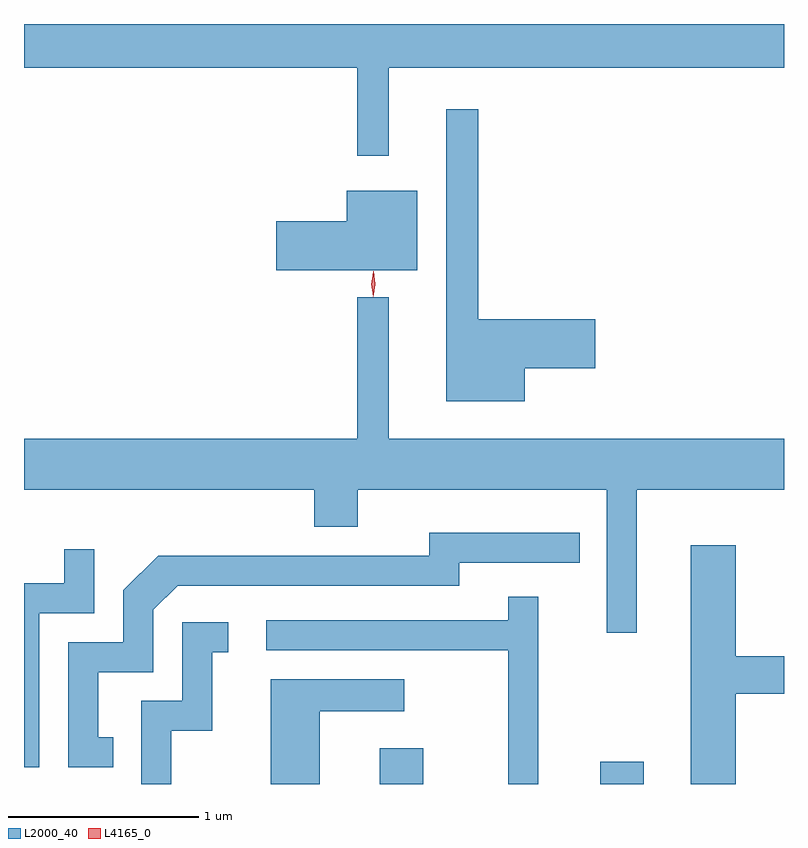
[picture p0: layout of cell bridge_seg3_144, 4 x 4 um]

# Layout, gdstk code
import gdstk
lib = gdstk.Library(unit=1e-6, precision=1e-09)
def R(c, l, rs):  # rectangles x0, y0, x1, y1
    for r in rs: c.add(gdstk.rectangle(r[:2], r[2:], *l))
def P(c, l, *ps):  # polygons
    for p in ps: c.add(gdstk.Polygon(p, *l))
L2000_40 = (2000, 40)
L4165_0 = (4165, 0)

bridge_seg3_144 = lib.new_cell('bridge_seg3_144')
R(bridge_seg3_144, L2000_40, [(822.271,1197.727,822.499,1197.914), (823.431,1197.727,823.659,1197.844)])
P(bridge_seg3_144, L2000_40, [(822.319,1201.496),(824.398,1201.496),(824.398,1201.727),(820.398,1201.727),(820.398,1201.496),(822.151,1201.496),(822.151,1201.033),(822.319,1201.033)],
  [(823.034,1199.916),(823.404,1199.916),(823.404,1200.174),(822.789,1200.174),(822.789,1201.278),(822.621,1201.278),(822.621,1199.741),(823.034,1199.741)],
  [(822.469,1200.849),(822.096,1200.849),(822.096,1200.689),(821.726,1200.689),(821.726,1200.431),(822.469,1200.431)],
  [(823.624,1199.276),(824.398,1199.276),(824.398,1199.544),(822.319,1199.544),(822.319,1200.288),(822.151,1200.288),(822.151,1199.544),(820.398,1199.544),(820.398,1199.276),(821.926,1199.276),(821.926,1199.081),(822.154,1199.081),(822.154,1199.276),(823.466,1199.276),(823.466,1198.523),(823.624,1198.523)],
  [(820.868,1197.974),(820.789,1197.974),(820.789,1198.316),(821.079,1198.316),(821.079,1198.644),(821.207,1198.771),(822.689,1198.771),(822.689,1198.891),(823.323,1198.891),(823.323,1199.049),(822.531,1199.049),(822.531,1198.929),(821.104,1198.929),(820.921,1198.747),(820.921,1198.474),(820.631,1198.474),(820.631,1197.816),(820.868,1197.816)],
  [(824.144,1198.201),(824.398,1198.201),(824.398,1198.399),(824.144,1198.399),(824.144,1198.984),(823.906,1198.984),(823.906,1197.727),(824.144,1197.727)],
  [(820.479,1198.626),(820.769,1198.626),(820.769,1198.963),(820.611,1198.963),(820.611,1198.784),(820.398,1198.784),(820.398,1197.816),(820.479,1197.816)],
  [(823.104,1198.713),(822.946,1198.713),(822.946,1198.589),(821.673,1198.589),(821.673,1198.431),(822.946,1198.431),(822.946,1197.727),(823.104,1197.727)],
  [(821.174,1198.006),(821.389,1198.006),(821.389,1198.421),(821.473,1198.421),(821.473,1198.579),(821.231,1198.579),(821.231,1198.164),(821.016,1198.164),(821.016,1197.727),(821.174,1197.727)],
  [(821.954,1198.111),(822.398,1198.111),(822.398,1198.279),(821.696,1198.279),(821.696,1197.727),(821.954,1197.727)])
P(bridge_seg3_144, L4165_0, [(822.235,1200.29),(822.227,1200.358),(822.237,1200.426),(822.238,1200.426),(822.238,1200.426),(822.247,1200.358),(822.236,1200.29),(822.236,1200.29)],
  [(822.235,1200.293),(822.235,1200.293),(822.226,1200.356),(822.237,1200.419),(822.237,1200.42),(822.238,1200.419),(822.246,1200.356),(822.236,1200.293)])

lib.write_gds('bridge_seg3_144.gds')
